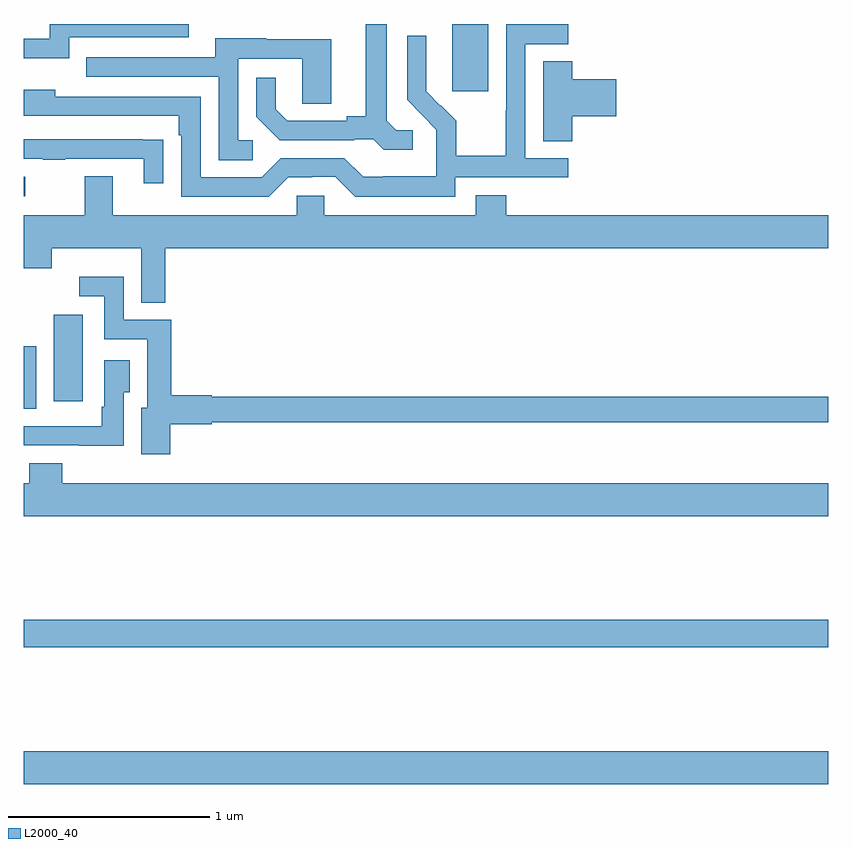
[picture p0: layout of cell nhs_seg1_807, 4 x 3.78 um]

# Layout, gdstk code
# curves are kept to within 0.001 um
import gdstk
lib = gdstk.Library(unit=1e-6, precision=1e-09)
def R(c, l, rs):  # rectangles x0, y0, x1, y1
    for r in rs: c.add(gdstk.rectangle(r[:2], r[2:], *l))
def P(c, l, *ps):  # polygons
    for p in ps: c.add(gdstk.Polygon(p, *l))
L2000_40 = (2000, 40)

nhs_seg1_807 = lib.new_cell('nhs_seg1_807')
R(nhs_seg1_807, L2000_40, [(155,530.42,159,530.584), (155,531.1,159,531.236), (155,532.285,155.062,532.596), (155.15,532.322,155.293,532.753), (155,533.343,155.008,533.439), (157.13,533.865,157.309,534.199)])
P(nhs_seg1_807, L2000_40, [(155.226,534.132),(155.821,534.132),(155.821,534.199),(155.13,534.199),(155.13,534.126),(155,534.126),(155,534.029),(155.226,534.029)],
  [(156.934,533.67),(156.852,533.67),(156.805,533.717),(156.805,534.199),(156.701,534.199),(156.701,533.741),(156.605,533.741),(156.605,533.718),(156.31,533.718),(156.253,533.775),(156.253,533.932),(156.156,533.932),(156.156,533.738),(156.272,533.622),(156.644,533.622),(156.644,533.625),(156.738,533.625),(156.79,533.573),(156.934,533.573)],
  [(157.146,533.436),(157.708,533.436),(157.708,533.532),(157.494,533.532),(157.494,534.099),(157.708,534.099),(157.708,534.198),(157.398,534.198),(157.398,533.768),(157.396,533.768),(157.396,533.545),(157.151,533.545),(157.151,533.719),(157.074,533.796),(157.071,533.793),(157.001,533.864),(157.002,534.14),(156.906,534.14),(156.906,533.822),(157.052,533.674),(157.052,533.577),(157.05,533.577),(157.05,533.443),(156.787,533.443),(156.787,533.439),(156.687,533.439),(156.594,533.532),(156.279,533.532),(156.183,533.436),(155.88,533.436),(155.88,533.838),(155.156,533.838),(155.156,533.872),(155,533.872),(155,533.742),(155.771,533.742),(155.771,533.645),(155.784,533.645),(155.784,533.34),(156.219,533.34),(156.315,533.436),(156.434,533.436),(156.434,533.439),(156.549,533.439),(156.649,533.339),(157.146,533.339)],
  [(156.139,533.622),(156.066,533.622),(156.066,534.027),(156.384,534.027),(156.384,533.803),(156.529,533.803),(156.529,534.123),(156.205,534.123),(156.205,534.127),(155.951,534.127),(155.951,534.033),(155.311,534.033),(155.311,533.937),(155.97,533.937),(155.97,533.521),(156.139,533.521)],
  [(157.727,533.741),(157.945,533.741),(157.945,533.924),(157.727,533.924),(157.727,534.014),(157.583,534.014),(157.583,533.617),(157.727,533.617)],
  [(155.693,533.624),(155.591,533.624),(155.591,533.625),(155,533.625),(155,533.529),(155.095,533.529),(155.095,533.524),(155.207,533.524),(155.207,533.529),(155.597,533.529),(155.597,533.406),(155.693,533.406)],
  [(155.704,533.084),(159,533.084),(159,533.248),(157.4,533.248),(157.4,533.347),(157.247,533.347),(157.247,533.248),(156.495,533.248),(156.495,533.346),(156.357,533.346),(156.357,533.248),(155.443,533.248),(155.443,533.443),(155.303,533.443),(155.303,533.248),(155,533.248),(155,532.985),(155.139,532.985),(155.139,533.084),(155.585,533.084),(155.585,532.813),(155.704,532.813)],
  [(155.729,532.21),(155.934,532.21),(155.934,532.218),(159,532.218),(159,532.346),(155.934,532.346),(155.934,532.354),(155.734,532.354),(155.734,532.728),(155.496,532.728),(155.496,532.942),(155.277,532.942),(155.277,532.845),(155.4,532.845),(155.4,532.632),(155.615,532.632),(155.615,532.291),(155.585,532.291),(155.585,532.059),(155.729,532.059)],
  [(155.496,532.369),(155.527,532.369),(155.527,532.528),(155.4,532.528),(155.4,532.297),(155.388,532.297),(155.388,532.2),(155,532.2),(155,532.104),(155.275,532.104),(155.275,532.103),(155.496,532.103)],
  [(159,531.916),(155.192,531.916),(155.192,532.015),(155.027,532.015),(155.027,531.916),(155,531.916),(155,531.752),(159,531.752)])

lib.write_gds('nhs_seg1_807.gds')
